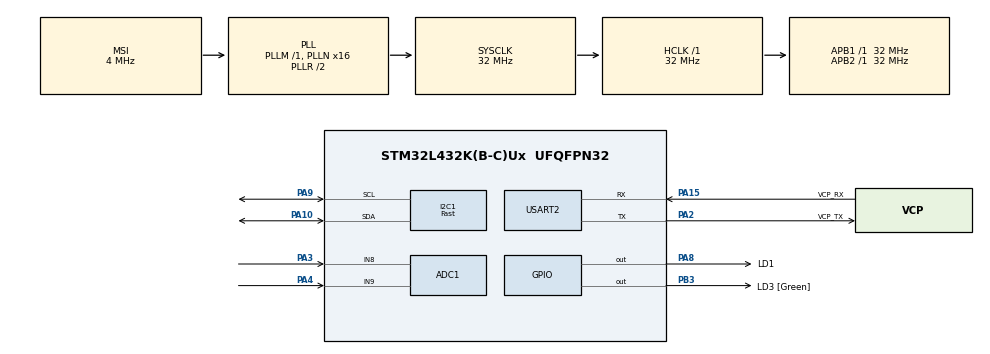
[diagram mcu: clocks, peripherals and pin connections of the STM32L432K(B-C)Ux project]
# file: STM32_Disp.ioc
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ADC1.Channel-0\#ChannelRegularConversion=ADC_CHANNEL_8
ADC1.NbrOfConversionFlag=1
ADC1.OffsetNumber-0\#ChannelRegularConversion=ADC_OFFSET_NONE
ADC1.Rank-0\#ChannelRegularConversion=1
ADC1.SamplingTime-0\#ChannelRegularConversion=ADC_SAMPLETIME_2CYCLES_5
ADC1.SingleDiff-0\#ChannelRegularConversion=ADC_DIFFERENTIAL_ENDED
ADC1.master=1
Dma.Request0=USART2_RX
Dma.USART2_RX.0.Direction=DMA_PERIPH_TO_MEMORY
Dma.USART2_RX.0.Instance=DMA1_Channel6
Dma.USART2_RX.0.MemDataAlignment=DMA_MDATAALIGN_BYTE
Dma.USART2_RX.0.MemInc=DMA_MINC_ENABLE
Dma.USART2_RX.0.Mode=DMA_NORMAL
Dma.USART2_RX.0.PeriphDataAlignment=DMA_PDATAALIGN_BYTE
Dma.USART2_RX.0.PeriphInc=DMA_PINC_DISABLE
Dma.USART2_RX.0.Priority=DMA_PRIORITY_LOW
I2C1.I2C_Speed_Mode=I2C_Fast
I2C1.Timing=0x00300F38
Mcu.Family=STM32L4
Mcu.Name=STM32L432K(B-C)Ux
Mcu.Package=UFQFPN32
NVIC.DMA1_Channel6_IRQn=true\:0\:0\:false\:false\:true\:false\:true\:true
NVIC.PriorityGroup=NVIC_PRIORITYGROUP_4
NVIC.USART2_IRQn=true\:0\:0\:false\:false\:true\:true\:true\:true
PA0.GPIO_Label=MCO [High speed clock in]
PA0.Mode=HSE-External-Clock-Source-for-LittleOrca
PA0.Signal=RCC_CK_IN
PA10.Mode=I2C
PA10.Signal=I2C1_SDA
PA13\ (JTMS-SWDIO).GPIO_Label=SWDIO
PA13\ (JTMS-SWDIO).Mode=Serial_Wire
PA13\ (JTMS-SWDIO).Signal=SYS_JTMS-SWDIO
PA14\ (JTCK-SWCLK).GPIO_Label=SWCLK
PA14\ (JTCK-SWCLK).Mode=Serial_Wire
PA14\ (JTCK-SWCLK).Signal=SYS_JTCK-SWCLK
PA15\ (JTDI).GPIO_Label=VCP_RX
PA15\ (JTDI).Mode=Asynchronous
PA15\ (JTDI).Signal=USART2_RX
PA2.GPIO_Label=VCP_TX
PA2.Mode=Asynchronous
PA2.Signal=USART2_TX
PA3.Signal=ADCx_IN8
PA4.Signal=ADCx_IN9
PA8.GPIO_Label=LD1
PA8.GPIO_ModeDefaultOutputPP=GPIO_MODE_OUTPUT_OD
PA8.GPIO_PuPd=GPIO_NOPULL
PA8.Signal=GPIO_Output
PA9.Mode=I2C
PA9.Signal=I2C1_SCL
PB3\ (JTDO-TRACESWO).GPIO_Label=LD3 [Green]
PB3\ (JTDO-TRACESWO).Signal=GPIO_Output
PC14-OSC32_IN\ (PC14).Mode=LSE-External-Oscillator
PC14-OSC32_IN\ (PC14).Signal=RCC_OSC32_IN
PC15-OSC32_OUT\ (PC15).Mode=LSE-External-Oscillator
PC15-OSC32_OUT\ (PC15).Signal=RCC_OSC32_OUT
ProjectManager.HeapSize=0x200
ProjectManager.StackSize=0x400
ProjectManager.TargetToolchain=STM32CubeIDE
RCC.ADCFreq_Value=32000000
RCC.AHBFreq_Value=32000000
RCC.APB1Freq_Value=32000000
RCC.APB1TimFreq_Value=32000000
RCC.APB2Freq_Value=32000000
RCC.APB2TimFreq_Value=32000000
RCC.CortexFreq_Value=32000000
RCC.HCLKFreq_Value=32000000
RCC.HSE_VALUE=8000000
RCC.HSI16_VALUE=16000000
RCC.HSI48_VALUE=48000000
RCC.HSI_VALUE=16000000
RCC.MSI_VALUE=4000000
RCC.PLLMUL=RCC_PLLMUL_4
RCC.PLLN=16
RCC.PLLSAI1N=16
RCC.SYSCLKFreq_VALUE=32000000
RCC.SYSCLKSource=RCC_SYSCLKSOURCE_PLLCLK
RCC.USBFreq_Value=32000000
RCC.VCOOutputFreq_Value=64000000
SH.ADCx_IN8.0=ADC1_IN8,IN8-Differential
SH.ADCx_IN9.0=ADC1_IN9,IN8-Differential
USART2.VirtualMode-Asynchronous=VM_ASYNC
board=NUCLEO-L432KC

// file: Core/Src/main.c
/* USER CODE BEGIN Header */
/**
  ******************************************************************************
  * @file           : main.c
  * @brief          : Main program body
  ******************************************************************************
  * @attention
  *
  * Copyright (c) 2023 STMicroelectronics.
  * All rights reserved.
  *
  * This software is licensed under terms that can be found in the LICENSE file
  * in the root directory of this software component.
  * If no LICENSE file comes with this software, it is provided AS-IS.
  *
  ******************************************************************************
  */
/* USER CODE END Header */
#include "main.h"

/* USER CODE BEGIN Includes */
#include "ssd1306.h"
#include <stdio.h>
#include <string.h>
#include <stdbool.h>
/* USER CODE END Includes */

/* USER CODE BEGIN PD */
#define RXB_SIZE 127
#define MBUF_SIZE 512
#define DISPB_SIZE 128
/* USER CODE END PD */

ADC_HandleTypeDef hadc1;

I2C_HandleTypeDef hi2c1;

UART_HandleTypeDef huart2;
DMA_HandleTypeDef hdma_usart2_rx;

/* USER CODE BEGIN PV */
SSD1306_COLOR colState = White;
uint8_t yPos = 10;
char retVal;

uint8_t RxBuf[RXB_SIZE];
uint8_t MainB[MBUF_SIZE];
char greetings[DISPB_SIZE];
char INFO[24];

uint8_t end_fl = 0;
uint16_t oldPos = 0;
uint16_t newPos = 0;
/* USER CODE END PV */

void SystemClock_Config(void);
static void MX_GPIO_Init(void);
static void MX_DMA_Init(void);
static void MX_I2C1_Init(void);
static void MX_USART2_UART_Init(void);
static void MX_ADC1_Init(void);
/* USER CODE BEGIN PFP */

static void stcp(uint8_t *inp, char *out){
uint8_t num = 0;
while(inp[num] != '\a') {
	out[num]=(char) inp[num];
	++num;
	if(num >= DISPB_SIZE-1) {out[DISPB_SIZE-1] = '\0'; break;}
}
out[DISPB_SIZE-1] = '\0';
}

static void eraseBuff(uint8_t *data, uint16_t Size){
	uint16_t idx = 0;
	for(idx = 0; idx < Size; idx++) data[idx] = 0;
}

uint8_t bellChk(uint8_t *datas, uint16_t Size){
	uint16_t idx = 0;
	for(idx = 0; idx < Size; idx++){
		if(datas[idx] == 0X07) return 1;
	}
	return 0;
}

uint8_t rmBell(uint8_t *datas, uint16_t Size){
	uint16_t idx = 0;
	for(idx = 0; idx < Size; idx++){
		if(datas[idx] == 0X07) {datas[idx]=0x20; return idx;}
	}
	return Size;
}

void HAL_UARTEx_RxEventCallback(UART_HandleTypeDef *huart, uint16_t Size)
{ // DMA callback function
	if(huart->Instance == USART2){
		oldPos = newPos; // Updating last position before copying new data

		if((oldPos + Size > MBUF_SIZE) || RxBuf[0] == '\b' ){    //|| bellChk(MainB, MBUF_SIZE)
			eraseBuff(MainB, MBUF_SIZE);
			// uint16_t datatocopy = MBUF_SIZE - oldPos;
			oldPos = 0;  // point to the start of the buffer
			newPos = 0;
			//memcpy((uint8_t *)(MainB + oldPos), RxBuf, Size);
		}
		else
		{
			memcpy((uint8_t *)(MainB + oldPos), RxBuf, Size);
			newPos = Size+oldPos;
		}

		HAL_UARTEx_ReceiveToIdle_DMA(&huart2, RxBuf, RXB_SIZE);
		__HAL_DMA_DISABLE_IT(&hdma_usart2_rx, DMA_IT_HT);
	}

}

static void displayStr(){
  eraseBuff((uint8_t *) greetings, DISPB_SIZE); // erase the buffer
  ssd1306_Fill(Black);
  ssd1306_UpdateScreen();
  stcp(MainB, greetings);
  yPos = 9;
  uint16_t pos = 0;
  //unsigned len = 0;
  ssd1306_SetCursor(1, yPos);

  while(pos < newPos){

    if(pos%17 == 0){
      //line[18] = '\0';
      retVal = ssd1306_WriteString((char *)greetings+pos, Font_7x10, colState);
      yPos += 10;
      ssd1306_SetCursor(2, yPos); // New line on the display
    }

    if(yPos > 64){
      yPos = 9;
      ssd1306_Fill(Black);
      ssd1306_SetCursor(2, yPos); // New line on the display
      ssd1306_UpdateScreen();
    }
    pos++;
  }

  ssd1306_UpdateScreen();
  rmBell(MainB, MBUF_SIZE);
}

/* USER CODE END PFP */

int main(void)
{
  /* USER CODE BEGIN 1 */
	//RxBuf[0] = '\0';
	//INFO[0] = '\0';
  strcpy(greetings, "Hello World!");
  /* USER CODE END 1 */

  /* MCU Configuration--------------------------------------------------------*/

  /* Reset of all peripherals, Initializes the Flash interface and the Systick. */
  HAL_Init();

  /* Configure the system clock */
  SystemClock_Config();

  /* USER CODE BEGIN SysInit */

  ssd1306_Init();
  ssd1306_SetCursor(2, yPos);
  /* USER CODE END SysInit */

  /* Initialize all configured peripherals */
  MX_GPIO_Init();
  MX_DMA_Init();
  MX_I2C1_Init();
  MX_USART2_UART_Init();
  MX_ADC1_Init();
  /* USER CODE BEGIN 2 */
  ssd1306_Init();
  ssd1306_Fill(colState);
  ssd1306_UpdateScreen();

  HAL_UARTEx_ReceiveToIdle_DMA(&huart2, RxBuf, RXB_SIZE);
  __HAL_DMA_DISABLE_IT(&hdma_usart2_rx, DMA_IT_HT);
  ssd1306_Fill(Black);
  ssd1306_UpdateScreen();
  /* USER CODE END 2 */

  /* Infinite loop */
  /* USER CODE BEGIN WHILE */
  while (1)
  {

//	  sprintf(INFO, "u2:%d sl:%d", stat_uart2, strlen(BUFF));
      if(bellChk(MainB, MBUF_SIZE)) displayStr(); // CALLING THE FUNCTION TO DISPLAY
	  HAL_GPIO_TogglePin(GPIOB, LD3_Pin);
	  HAL_GPIO_TogglePin(GPIOA, LD1_Pin);
	  // ssd1306_Fill(colState);
	  HAL_Delay(50);

    /* USER CODE END WHILE */

  }
}

void SystemClock_Config(void)
{
  RCC_OscInitTypeDef RCC_OscInitStruct = {0};
  RCC_ClkInitTypeDef RCC_ClkInitStruct = {0};

  /** Configure the main internal regulator output voltage
  */
  if (HAL_PWREx_ControlVoltageScaling(PWR_REGULATOR_VOLTAGE_SCALE1) != HAL_OK)
  {
    Error_Handler();
  }

  /** Configure LSE Drive Capability
  */
  HAL_PWR_EnableBkUpAccess();
  __HAL_RCC_LSEDRIVE_CONFIG(RCC_LSEDRIVE_LOW);

  /** Initializes the RCC Oscillators according to the specified parameters
  * in the RCC_OscInitTypeDef structure.
  */
  RCC_OscInitStruct.OscillatorType = RCC_OSCILLATORTYPE_LSE|RCC_OSCILLATORTYPE_MSI;
  RCC_OscInitStruct.LSEState = RCC_LSE_ON;
  RCC_OscInitStruct.MSIState = RCC_MSI_ON;
  RCC_OscInitStruct.MSICalibrationValue = 0;
  RCC_OscInitStruct.MSIClockRange = RCC_MSIRANGE_6;
  RCC_OscInitStruct.PLL.PLLState = RCC_PLL_ON;
  RCC_OscInitStruct.PLL.PLLSource = RCC_PLLSOURCE_MSI;
  RCC_OscInitStruct.PLL.PLLM = 1;
  RCC_OscInitStruct.PLL.PLLN = 16;
  RCC_OscInitStruct.PLL.PLLP = RCC_PLLP_DIV7;
  RCC_OscInitStruct.PLL.PLLQ = RCC_PLLQ_DIV2;
  RCC_OscInitStruct.PLL.PLLR = RCC_PLLR_DIV2;
  if (HAL_RCC_OscConfig(&RCC_OscInitStruct) != HAL_OK)
  {
    Error_Handler();
  }

  /** Initializes the CPU, AHB and APB buses clocks
  */
  RCC_ClkInitStruct.ClockType = RCC_CLOCKTYPE_HCLK|RCC_CLOCKTYPE_SYSCLK
                              |RCC_CLOCKTYPE_PCLK1|RCC_CLOCKTYPE_PCLK2;
  RCC_ClkInitStruct.SYSCLKSource = RCC_SYSCLKSOURCE_PLLCLK;
  RCC_ClkInitStruct.AHBCLKDivider = RCC_SYSCLK_DIV1;
  RCC_ClkInitStruct.APB1CLKDivider = RCC_HCLK_DIV1;
  RCC_ClkInitStruct.APB2CLKDivider = RCC_HCLK_DIV1;

  if (HAL_RCC_ClockConfig(&RCC_ClkInitStruct, FLASH_LATENCY_1) != HAL_OK)
  {
    Error_Handler();
  }

  /** Enable MSI Auto calibration
  */
  HAL_RCCEx_EnableMSIPLLMode();
}

static void MX_ADC1_Init(void)
{

  ADC_ChannelConfTypeDef sConfig = {0};

  /** Common config
  */
  hadc1.Instance = ADC1;
  hadc1.Init.ClockPrescaler = ADC_CLOCK_ASYNC_DIV1;
  hadc1.Init.Resolution = ADC_RESOLUTION_12B;
  hadc1.Init.DataAlign = ADC_DATAALIGN_RIGHT;
  hadc1.Init.ScanConvMode = ADC_SCAN_DISABLE;
  hadc1.Init.EOCSelection = ADC_EOC_SINGLE_CONV;
  hadc1.Init.LowPowerAutoWait = DISABLE;
  hadc1.Init.ContinuousConvMode = DISABLE;
  hadc1.Init.NbrOfConversion = 1;
  hadc1.Init.DiscontinuousConvMode = DISABLE;
  hadc1.Init.ExternalTrigConv = ADC_SOFTWARE_START;
  hadc1.Init.ExternalTrigConvEdge = ADC_EXTERNALTRIGCONVEDGE_NONE;
  hadc1.Init.DMAContinuousRequests = DISABLE;
  hadc1.Init.Overrun = ADC_OVR_DATA_PRESERVED;
  hadc1.Init.OversamplingMode = DISABLE;
  if (HAL_ADC_Init(&hadc1) != HAL_OK)
  {
    Error_Handler();
  }

  /** Configure Regular Channel
  */
  sConfig.Channel = ADC_CHANNEL_8;
  sConfig.Rank = ADC_REGULAR_RANK_1;
  sConfig.SamplingTime = ADC_SAMPLETIME_2CYCLES_5;
  sConfig.SingleDiff = ADC_DIFFERENTIAL_ENDED;
  sConfig.OffsetNumber = ADC_OFFSET_NONE;
  sConfig.Offset = 0;
  if (HAL_ADC_ConfigChannel(&hadc1, &sConfig) != HAL_OK)
  {
    Error_Handler();
  }

}

static void MX_I2C1_Init(void)
{

  hi2c1.Instance = I2C1;
  hi2c1.Init.Timing =  0x00300F38; //0x00707CBB;
  hi2c1.Init.OwnAddress1 = 0;
  hi2c1.Init.AddressingMode = I2C_ADDRESSINGMODE_7BIT;
  hi2c1.Init.DualAddressMode = I2C_DUALADDRESS_DISABLE;
  hi2c1.Init.OwnAddress2 = 0;
  hi2c1.Init.OwnAddress2Masks = I2C_OA2_NOMASK;
  hi2c1.Init.GeneralCallMode = I2C_GENERALCALL_DISABLE;
  hi2c1.Init.NoStretchMode = I2C_NOSTRETCH_DISABLE;
  if (HAL_I2C_Init(&hi2c1) != HAL_OK)
  {
    Error_Handler();
  }

  /** Configure Analogue filter
  */
  if (HAL_I2CEx_ConfigAnalogFilter(&hi2c1, I2C_ANALOGFILTER_ENABLE) != HAL_OK)
  {
    Error_Handler();
  }

  /** Configure Digital filter
  */
  if (HAL_I2CEx_ConfigDigitalFilter(&hi2c1, 0) != HAL_OK)
  {
    Error_Handler();
  }

}

static void MX_USART2_UART_Init(void)
{

  huart2.Instance = USART2;
  huart2.Init.BaudRate = 115200;
  huart2.Init.WordLength = UART_WORDLENGTH_8B;
  huart2.Init.StopBits = UART_STOPBITS_1;
  huart2.Init.Parity = UART_PARITY_NONE;
  huart2.Init.Mode = UART_MODE_TX_RX;
  huart2.Init.HwFlowCtl = UART_HWCONTROL_NONE;
  huart2.Init.OverSampling = UART_OVERSAMPLING_16;
  huart2.Init.OneBitSampling = UART_ONE_BIT_SAMPLE_DISABLE;
  huart2.AdvancedInit.AdvFeatureInit = UART_ADVFEATURE_NO_INIT;
  if (HAL_UART_Init(&huart2) != HAL_OK)
  {
    Error_Handler();
  }

}

static void MX_DMA_Init(void)
{

  /* DMA controller clock enable */
  __HAL_RCC_DMA1_CLK_ENABLE();

  /* DMA interrupt init */
  /* DMA1_Channel6_IRQn interrupt configuration */
  HAL_NVIC_SetPriority(DMA1_Channel6_IRQn, 0, 0);
  HAL_NVIC_EnableIRQ(DMA1_Channel6_IRQn);

}

static void MX_GPIO_Init(void)
{
  GPIO_InitTypeDef GPIO_InitStruct = {0};

  /* GPIO Ports Clock Enable */
  __HAL_RCC_GPIOC_CLK_ENABLE();
  __HAL_RCC_GPIOA_CLK_ENABLE();
  __HAL_RCC_GPIOB_CLK_ENABLE();

  /*Configure GPIO pin Output Level */
  HAL_GPIO_WritePin(LD1_GPIO_Port, LD1_Pin, GPIO_PIN_RESET);

  /*Configure GPIO pin Output Level */
  HAL_GPIO_WritePin(LD3_GPIO_Port, LD3_Pin, GPIO_PIN_RESET);

  /*Configure GPIO pin : LD1_Pin */
  GPIO_InitStruct.Pin = LD1_Pin;
  GPIO_InitStruct.Mode = GPIO_MODE_OUTPUT_OD;
  GPIO_InitStruct.Pull = GPIO_NOPULL;
  GPIO_InitStruct.Speed = GPIO_SPEED_FREQ_LOW;
  HAL_GPIO_Init(LD1_GPIO_Port, &GPIO_InitStruct);

  /*Configure GPIO pin : LD3_Pin */
  GPIO_InitStruct.Pin = LD3_Pin;
  GPIO_InitStruct.Mode = GPIO_MODE_OUTPUT_PP;
  GPIO_InitStruct.Pull = GPIO_NOPULL;
  GPIO_InitStruct.Speed = GPIO_SPEED_FREQ_LOW;
  HAL_GPIO_Init(LD3_GPIO_Port, &GPIO_InitStruct);

}

void Error_Handler(void)
{
  __disable_irq();
  while (1)
  {
  }
}
